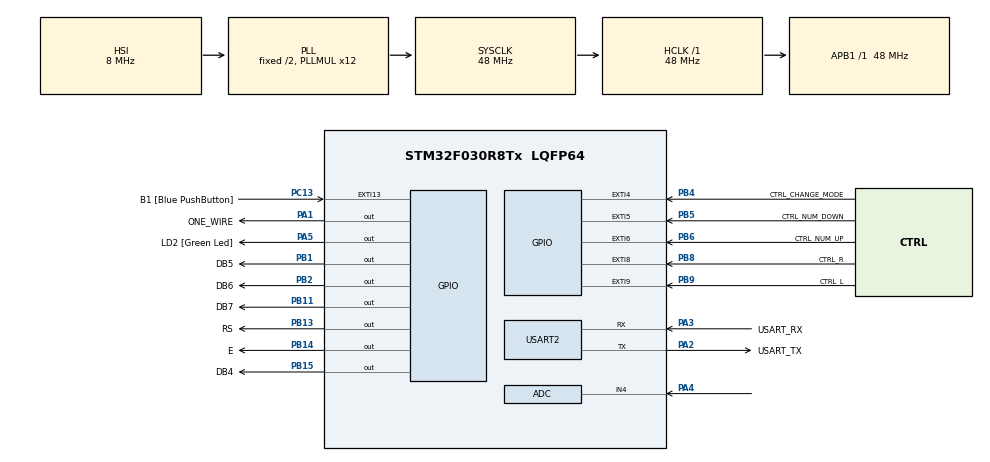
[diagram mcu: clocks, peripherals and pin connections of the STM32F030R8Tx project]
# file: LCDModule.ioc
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ADC.ContinuousConvMode=ENABLE
Mcu.Family=STM32F0
Mcu.Name=STM32F030R8Tx
Mcu.Package=LQFP64
NVIC.EXTI4_15_IRQn=true\:0\:0\:false\:false\:true\:true\:true\:true
NVIC.TIM6_IRQn=true\:0\:0\:false\:false\:true\:true\:true\:true
PA1.GPIO_Label=ONE_WIRE
PA1.Signal=GPIO_Output
PA13.GPIO_Label=TMS
PA13.Mode=Serial_Wire
PA13.Signal=SYS_SWDIO
PA14.GPIO_Label=TCK
PA14.Mode=Serial_Wire
PA14.Signal=SYS_SWCLK
PA2.GPIO_Label=USART_TX
PA2.GPIO_Mode=GPIO_MODE_AF_PP
PA2.GPIO_PuPd=GPIO_NOPULL
PA2.GPIO_Speed=GPIO_SPEED_FREQ_LOW
PA2.Mode=Asynchronous
PA2.Signal=USART2_TX
PA3.GPIO_Label=USART_RX
PA3.GPIO_Mode=GPIO_MODE_AF_PP
PA3.GPIO_PuPd=GPIO_NOPULL
PA3.GPIO_Speed=GPIO_SPEED_FREQ_LOW
PA3.Mode=Asynchronous
PA3.Signal=USART2_RX
PA4.Mode=IN4
PA4.Signal=ADC_IN4
PA5.GPIO_Label=LD2 [Green Led]
PA5.GPIO_Mode=GPIO_MODE_OUTPUT_PP
PA5.GPIO_PuPd=GPIO_NOPULL
PA5.GPIO_Speed=GPIO_SPEED_FREQ_LOW
PA5.Signal=GPIO_Output
PB1.GPIO_Label=DB5
PB1.Signal=GPIO_Output
PB11.GPIO_Label=DB7
PB11.Signal=GPIO_Output
PB13.GPIO_Label=RS
PB13.Signal=GPIO_Output
PB14.GPIO_Label=E
PB14.Signal=GPIO_Output
PB15.GPIO_Label=DB4
PB15.Signal=GPIO_Output
PB2.GPIO_Label=DB6
PB2.Signal=GPIO_Output
PB4.GPIO_Label=CTRL_CHANGE_MODE
PB4.GPIO_PuPd=GPIO_PULLDOWN
PB4.Signal=GPXTI4
PB5.GPIO_Label=CTRL_NUM_DOWN
PB5.GPIO_PuPd=GPIO_PULLDOWN
PB5.Signal=GPXTI5
PB6.GPIO_Label=CTRL_NUM_UP
PB6.GPIO_PuPd=GPIO_PULLDOWN
PB6.Signal=GPXTI6
PB8.GPIO_Label=CTRL_R
PB8.GPIO_PuPd=GPIO_PULLDOWN
PB8.Signal=GPXTI8
PB9.GPIO_Label=CTRL_L
PB9.GPIO_PuPd=GPIO_PULLDOWN
PB9.Signal=GPXTI9
PC13.GPIO_Label=B1 [Blue PushButton]
PC13.GPIO_ModeDefaultEXTI=GPIO_MODE_IT_FALLING
PC13.Signal=GPXTI13
PC14-OSC32_IN.Mode=LSE-External-Oscillator
PC14-OSC32_IN.Signal=RCC_OSC32_IN
PC15-OSC32_OUT.Mode=LSE-External-Oscillator
PC15-OSC32_OUT.Signal=RCC_OSC32_OUT
PF0-OSC_IN.Mode=HSE-External-Clock-Source
PF0-OSC_IN.Signal=RCC_OSC_IN
PF1-OSC_OUT.Signal=RCC_OSC_OUT
ProjectManager.HeapSize=0x200
ProjectManager.StackSize=0x400
ProjectManager.TargetToolchain=STM32CubeIDE
RCC.AHBFreq_Value=48000000
RCC.APB1Freq_Value=48000000
RCC.APB1TimFreq_Value=48000000
RCC.HCLKFreq_Value=48000000
RCC.PLLMUL=RCC_PLL_MUL12
RCC.SYSCLKFreq_VALUE=48000000
RCC.SYSCLKSource=RCC_SYSCLKSOURCE_PLLCLK
TIM14.Prescaler=47
TIM6.AutoReloadPreload=TIM_AUTORELOAD_PRELOAD_ENABLE
TIM6.Period=999
TIM6.Prescaler=47999
USART2.VirtualMode-Asynchronous=VM_ASYNC
VP_TIM14_VS_ClockSourceINT.Mode=Enable_Timer
VP_TIM6_VS_ClockSourceINT.Mode=Enable_Timer
board=NUCLEO-F030R8

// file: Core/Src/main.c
/* USER CODE BEGIN Header */
/**
  ******************************************************************************
  * @file           : main.c
  * @brief          : Main program body
  ******************************************************************************
  * @attention
  *
  * Copyright (c) 2023 STMicroelectronics.
  * All rights reserved.
  *
  * This software is licensed under terms that can be found in the LICENSE file
  * in the root directory of this software component.
  * If no LICENSE file comes with this software, it is provided AS-IS.
  *
  ******************************************************************************
  */
/* USER CODE END Header */
#include "main.h"
#include "lcd.h"
#include <string.h>
#include <stdio.h>
#include "temp.h"
#include "one_wire.h"
#include <inttypes.h>

ADC_HandleTypeDef hadc;

TIM_HandleTypeDef htim6;
TIM_HandleTypeDef htim14;

UART_HandleTypeDef huart2;

void SystemClock_Config(void);
static void MX_GPIO_Init(void);
static void MX_USART2_UART_Init(void);
static void MX_TIM6_Init(void);
static void MX_ADC_Init(void);
static void MX_TIM14_Init(void);
static void time2String(char* buffer);
static void updateTime();
/* USER CODE BEGIN PFP */
static void handleLcdUpdate(bool_t isCursorOn, TEMP_EXTENDED temp, uint32_t humidity);
static void handleTimeDigitChange(bool_t isUp);
static void initContext(CONTEXT* pContext);
/* USER CODE END PFP */

static CONTEXT context = {0};

int main(void)
{
  /* USER CODE BEGIN 1 */
  bool_t isCursorOn = FALSE;
  TEMP_EXTENDED temp = {0};
  /* USER CODE END 1 */

  /* MCU Configuration--------------------------------------------------------*/

  /* Reset of all peripherals, Initializes the Flash interface and the Systick. */
  HAL_Init();

  /* Configure the system clock */
  SystemClock_Config();

  /* Initialize all configured peripherals */
  MX_GPIO_Init();
  MX_USART2_UART_Init();
  MX_TIM6_Init();
  MX_ADC_Init();
  MX_TIM14_Init();
  /* USER CODE BEGIN 2 */
  HAL_TIM_Base_Start(&htim14); //Starte den Timer für Mikrosekunden-Delay (One-Wire)
  lcd_init(); //Initialisierung und Konfiguration des LCD's
  one_wire_init(&htim14); //Initialisierung der One-Wire-Verbindung

  //ADC für das Potentiometer initialisieren
  HAL_ADC_Start(&hadc);
  //Timer6 für die Sekundenzählung (Uhrzeit-Darstellung) starten
  HAL_TIM_Base_Start_IT(&htim6);

  //Initial, die Werte für die simulierte Luftfeuchtigkeit und der Temperatur auslesen
  HAL_ADC_PollForConversion(&hadc, 1000);
  uint32_t humidity = HAL_ADC_GetValue(&hadc);
  temp_GetDegressCelsiusExtended(&temp);

  //Initialisierung der Context-Struktur
  initContext(&context);

  //Initiale LCD-Ausgabe mit Cursor, für die Konfiguration der Zeit
  time2String(context.outputBuffer);
  lcd_send(0x01, FALSE);
  lcd_sendString(context.outputBuffer);
  lcd_setCursor(context.cursorPosition, 0);
  lcd_toggleCursor(TRUE);

  /* USER CODE END 2 */

  /* Infinite loop */
  /* USER CODE BEGIN WHILE */
  while (1)
    {
	  /*
	   * Überprüfe, ob aktueller Mode TIME_CONFIG ist, falls ja, aktiviere den Cursor, falls dieser noch nicht aktiviert ist
	   * ansonsten deaktivere den Cursor, falls er noch nicht deaktiviert wurde.
	   */
  	  if(context.currentMode == TIME_CONFIG) {
  		  if(!isCursorOn) {
  			  lcd_toggleCursor(TRUE);
  			  isCursorOn = TRUE;
  		  }
  	  } else {
  		  if(isCursorOn) {
  			  lcd_toggleCursor(FALSE);
  			  isCursorOn = FALSE;
  		  }
  	  }

  	  /*
  	   * Aktuallisiere die LCD-Darstellung, in Abhängigkeit davon,
  	   * ob das Flag lcdUpdate gesetzt ist oder nicht
  	   */
  	  if(context.flags.lcdUpdate) {

  		  //Aktuallisiere den erweiterten Temperaturwert
  		  temp_GetDegressCelsiusExtended(&temp);

  		  //Bestimme die Luftfeuchtigkeit (prozentual)
		  HAL_ADC_PollForConversion(&hadc, 1000);
		  humidity = (HAL_ADC_GetValue(&hadc) * 100) / MAX_HUMIDTY_VALUE;

		  //Aktuallisiere die LCD-Darstellung in Abhängigkeit des aktuellen Modus
		  handleLcdUpdate(isCursorOn, temp, humidity);
  	  }

  	  //Verhindern des Prellens der Buttons durch buttonPressed flag und einem 100ms delay
  	  if(context.flags.buttonPressed) {
  		  HAL_Delay(50);
  		  context.flags.buttonPressed = FALSE;
  	  }

  	  HAL_Delay(1);
    }
  }
  /* USER CODE END WHILE */

void SystemClock_Config(void)
{
  RCC_OscInitTypeDef RCC_OscInitStruct = {0};
  RCC_ClkInitTypeDef RCC_ClkInitStruct = {0};

  /** Initializes the RCC Oscillators according to the specified parameters
  * in the RCC_OscInitTypeDef structure.
  */
  RCC_OscInitStruct.OscillatorType = RCC_OSCILLATORTYPE_HSI|RCC_OSCILLATORTYPE_HSI14;
  RCC_OscInitStruct.HSIState = RCC_HSI_ON;
  RCC_OscInitStruct.HSI14State = RCC_HSI14_ON;
  RCC_OscInitStruct.HSICalibrationValue = RCC_HSICALIBRATION_DEFAULT;
  RCC_OscInitStruct.HSI14CalibrationValue = 16;
  RCC_OscInitStruct.PLL.PLLState = RCC_PLL_ON;
  RCC_OscInitStruct.PLL.PLLSource = RCC_PLLSOURCE_HSI;
  RCC_OscInitStruct.PLL.PLLMUL = RCC_PLL_MUL12;
  RCC_OscInitStruct.PLL.PREDIV = RCC_PREDIV_DIV1;
  if (HAL_RCC_OscConfig(&RCC_OscInitStruct) != HAL_OK)
  {
    Error_Handler();
  }

  /** Initializes the CPU, AHB and APB buses clocks
  */
  RCC_ClkInitStruct.ClockType = RCC_CLOCKTYPE_HCLK|RCC_CLOCKTYPE_SYSCLK
                              |RCC_CLOCKTYPE_PCLK1;
  RCC_ClkInitStruct.SYSCLKSource = RCC_SYSCLKSOURCE_PLLCLK;
  RCC_ClkInitStruct.AHBCLKDivider = RCC_SYSCLK_DIV1;
  RCC_ClkInitStruct.APB1CLKDivider = RCC_HCLK_DIV1;

  if (HAL_RCC_ClockConfig(&RCC_ClkInitStruct, FLASH_LATENCY_1) != HAL_OK)
  {
    Error_Handler();
  }
}

static void MX_ADC_Init(void)
{

  ADC_ChannelConfTypeDef sConfig = {0};

  /** Configure the global features of the ADC (Clock, Resolution, Data Alignment and number of conversion)
  */
  hadc.Instance = ADC1;
  hadc.Init.ClockPrescaler = ADC_CLOCK_ASYNC_DIV1;
  hadc.Init.Resolution = ADC_RESOLUTION_12B;
  hadc.Init.DataAlign = ADC_DATAALIGN_RIGHT;
  hadc.Init.ScanConvMode = ADC_SCAN_DIRECTION_FORWARD;
  hadc.Init.EOCSelection = ADC_EOC_SINGLE_CONV;
  hadc.Init.LowPowerAutoWait = DISABLE;
  hadc.Init.LowPowerAutoPowerOff = DISABLE;
  hadc.Init.ContinuousConvMode = ENABLE;
  hadc.Init.DiscontinuousConvMode = DISABLE;
  hadc.Init.ExternalTrigConv = ADC_SOFTWARE_START;
  hadc.Init.ExternalTrigConvEdge = ADC_EXTERNALTRIGCONVEDGE_NONE;
  hadc.Init.DMAContinuousRequests = DISABLE;
  hadc.Init.Overrun = ADC_OVR_DATA_PRESERVED;
  if (HAL_ADC_Init(&hadc) != HAL_OK)
  {
    Error_Handler();
  }

  /** Configure for the selected ADC regular channel to be converted.
  */
  sConfig.Channel = ADC_CHANNEL_4;
  sConfig.Rank = ADC_RANK_CHANNEL_NUMBER;
  sConfig.SamplingTime = ADC_SAMPLETIME_1CYCLE_5;
  if (HAL_ADC_ConfigChannel(&hadc, &sConfig) != HAL_OK)
  {
    Error_Handler();
  }

}

static void MX_TIM6_Init(void)
{

  htim6.Instance = TIM6;
  htim6.Init.Prescaler = 47999;
  htim6.Init.CounterMode = TIM_COUNTERMODE_UP;
  htim6.Init.Period = 999;
  htim6.Init.AutoReloadPreload = TIM_AUTORELOAD_PRELOAD_ENABLE;
  if (HAL_TIM_Base_Init(&htim6) != HAL_OK)
  {
    Error_Handler();
  }

}

static void MX_TIM14_Init(void)
{

  htim14.Instance = TIM14;
  htim14.Init.Prescaler = 47;
  htim14.Init.CounterMode = TIM_COUNTERMODE_UP;
  htim14.Init.Period = 65535;
  htim14.Init.ClockDivision = TIM_CLOCKDIVISION_DIV1;
  htim14.Init.AutoReloadPreload = TIM_AUTORELOAD_PRELOAD_DISABLE;
  if (HAL_TIM_Base_Init(&htim14) != HAL_OK)
  {
    Error_Handler();
  }

}

static void MX_USART2_UART_Init(void)
{

  huart2.Instance = USART2;
  huart2.Init.BaudRate = 38400;
  huart2.Init.WordLength = UART_WORDLENGTH_8B;
  huart2.Init.StopBits = UART_STOPBITS_1;
  huart2.Init.Parity = UART_PARITY_NONE;
  huart2.Init.Mode = UART_MODE_TX_RX;
  huart2.Init.HwFlowCtl = UART_HWCONTROL_NONE;
  huart2.Init.OverSampling = UART_OVERSAMPLING_16;
  huart2.Init.OneBitSampling = UART_ONE_BIT_SAMPLE_DISABLE;
  huart2.AdvancedInit.AdvFeatureInit = UART_ADVFEATURE_NO_INIT;
  if (HAL_UART_Init(&huart2) != HAL_OK)
  {
    Error_Handler();
  }

}

static void MX_GPIO_Init(void)
{
  GPIO_InitTypeDef GPIO_InitStruct = {0};

  /* GPIO Ports Clock Enable */
  __HAL_RCC_GPIOC_CLK_ENABLE();
  __HAL_RCC_GPIOF_CLK_ENABLE();
  __HAL_RCC_GPIOA_CLK_ENABLE();
  __HAL_RCC_GPIOB_CLK_ENABLE();

  /*Configure GPIO pin Output Level */
  HAL_GPIO_WritePin(GPIOA, ONE_WIRE_Pin|LD2_Pin, GPIO_PIN_RESET);

  /*Configure GPIO pin Output Level */
  HAL_GPIO_WritePin(GPIOB, DB5_Pin|DB6_Pin|DB7_Pin|RS_Pin
                          |E_Pin|DB4_Pin, GPIO_PIN_RESET);

  /*Configure GPIO pin : B1_Pin */
  GPIO_InitStruct.Pin = B1_Pin;
  GPIO_InitStruct.Mode = GPIO_MODE_IT_FALLING;
  GPIO_InitStruct.Pull = GPIO_NOPULL;
  HAL_GPIO_Init(B1_GPIO_Port, &GPIO_InitStruct);

  /*Configure GPIO pins : ONE_WIRE_Pin LD2_Pin */
  GPIO_InitStruct.Pin = ONE_WIRE_Pin|LD2_Pin;
  GPIO_InitStruct.Mode = GPIO_MODE_OUTPUT_PP;
  GPIO_InitStruct.Pull = GPIO_NOPULL;
  GPIO_InitStruct.Speed = GPIO_SPEED_FREQ_LOW;
  HAL_GPIO_Init(GPIOA, &GPIO_InitStruct);

  /*Configure GPIO pins : DB5_Pin DB6_Pin DB7_Pin RS_Pin
                           E_Pin DB4_Pin */
  GPIO_InitStruct.Pin = DB5_Pin|DB6_Pin|DB7_Pin|RS_Pin
                          |E_Pin|DB4_Pin;
  GPIO_InitStruct.Mode = GPIO_MODE_OUTPUT_PP;
  GPIO_InitStruct.Pull = GPIO_NOPULL;
  GPIO_InitStruct.Speed = GPIO_SPEED_FREQ_LOW;
  HAL_GPIO_Init(GPIOB, &GPIO_InitStruct);

  /*Configure GPIO pins : CTRL_CHANGE_MODE_Pin CTRL_NUM_DOWN_Pin CTRL_NUM_UP_Pin CTRL_R_Pin
                           CTRL_L_Pin */
  GPIO_InitStruct.Pin = CTRL_CHANGE_MODE_Pin|CTRL_NUM_DOWN_Pin|CTRL_NUM_UP_Pin|CTRL_R_Pin
                          |CTRL_L_Pin;
  GPIO_InitStruct.Mode = GPIO_MODE_IT_RISING;
  GPIO_InitStruct.Pull = GPIO_PULLDOWN;
  HAL_GPIO_Init(GPIOB, &GPIO_InitStruct);

  /* EXTI interrupt init*/
  HAL_NVIC_SetPriority(EXTI4_15_IRQn, 0, 0);
  HAL_NVIC_EnableIRQ(EXTI4_15_IRQn);

}

/* USER CODE BEGIN 4 */

//Initialisierungsfunktion für die Context-Daten
void initContext(CONTEXT* pContext) {
	pContext->currentMode = TIME_CONFIG;
	pContext->flags.lcdUpdate = FALSE;
	pContext->flags.buttonPressed = FALSE;
	pContext->cursorPosition = 0;
	pContext->timeConfig = HOUR_0;
	pContext->time.packed_time = 0;
	memset(pContext->outputBuffer, 0, OUTPUT_BUFFER_SIZE);
}

/*
 * Interrupt-Handler-Funktion für die Steuerung-Buttons
 */
void HAL_GPIO_EXTI_Callback(uint16_t GPIO_Pin)
{
    //Überprüfe buttonPressed Flag, um Prellen zu verhindern
    if(context.flags.buttonPressed) return;

    switch (GPIO_Pin)
    {
    case CTRL_L_Pin: //Kontroll-Links (Wechsel der Ziffer-Position und der Modi)
        if(context.currentMode == TIME_CONFIG) {
            if(context.timeConfig == HOUR_0){
                //Setze Position der Zeiteinstellung auf Zehnerstelle der Sekunden
                context.timeConfig = SEC_1;
                context.cursorPosition = 7;
            } else {
                context.timeConfig--;
                if(context.cursorPosition == 6
                    || context.cursorPosition == 3) {
                    context.cursorPosition -= 2;
                } else {
                    context.cursorPosition--;
                }
            }
        } else {
        	//Falls alternierenden Anzeigemodus aktiviert ist, deaktivere ihn
            context.flags.isInPeroidMode = FALSE;

            //Manueller Wechsel der Modi
            if(context.currentMode == TIME) {
                context.currentMode = TEMP_HUMIDITY;
                context.flags.lcdUpdate = TRUE;
            } else {
                context.currentMode--;
                context.flags.lcdUpdate = TRUE;
            }
        }
        break;
    case CTRL_R_Pin: //Kontroll-Rechts (Wechsel der Ziffer-Position und der Modi)
        if(context.currentMode == TIME_CONFIG) {
            if(context.timeConfig == SEC_1){
                //Setze Position der Zeiteinstellung auf Zehnerstelle der Stunden
                context.timeConfig = HOUR_0;
                context.cursorPosition = 0;
            } else {
                context.timeConfig++;
                if(context.cursorPosition == 1
                    || context.cursorPosition == 4) {
                    context.cursorPosition += 2;
                } else {
                    context.cursorPosition++;
                }
            }
        } else {
        	//Falls alternierenden Anzeigemodus aktiviert ist, deaktivere ihn
        	 context.flags.isInPeroidMode = FALSE;

        	//Manueller Wechsel der Modi
            if(context.currentMode == TEMP_HUMIDITY) {
                context.currentMode = TIME;
                context.flags.lcdUpdate = TRUE;
            } else {
               context.currentMode++;
               context.flags.lcdUpdate = TRUE;
            }
        }
        break;
    case CTRL_NUM_UP_Pin: //Konroll-Up, zum Inkrementieren der aktuellen Zeitziffer
        if(context.currentMode == TIME_CONFIG) {
            handleTimeDigitChange(TRUE);
        } else {
        	//Flag zur Aktivierung des alternierenden Anzeigemodus
            if(context.flags.isInPeroidMode) {
                context.flags.isInPeroidMode = FALSE;
            } else {
                context.flags.isInPeroidMode = TRUE;
            }
        }
        break;
    case CTRL_NUM_DOWN_Pin: //Konroll-Down, zum Dekrementieren der aktuellen Zeitziffer
        if(context.currentMode == TIME_CONFIG) {
            handleTimeDigitChange(FALSE);
        }
        break;
    case CTRL_CHANGE_MODE_Pin: //Wechsel zwischen dem Modus zur Zeiteinstellung und dem Modus zur Zeitdarstellung
        if(context.currentMode == TIME_CONFIG) {
            context.currentMode = TIME;
            context.cursorPosition = 0;
        } else {
            context.currentMode = TIME_CONFIG;
        }
        break;
    }

    context.flags.lcdUpdate = TRUE; //Flag, zum aktuallisieren des LCD's aus der Main-Funktion
    context.flags.buttonPressed = TRUE;
}

/*
 * Interrupt-Handler-Funktion für den Timer, zur Sekundenzählung
 * und Zeitaktuallisierung sowie zur Interval-Prüfung für den automatischen Modi-Wechsel
 */
void HAL_TIM_PeriodElapsedCallback(TIM_HandleTypeDef *htim)
{
	if(context.currentMode != TIME_CONFIG) {
		updateTime();
		context.flags.lcdUpdate = TRUE;

		//Falls alternierenden Anzeigemodus aktiviert, prüfe ob CHANGE_MODE_PEROID erreicht wurde
		if(context.flags.isInPeroidMode &&
				context.time.seconds % CHANGE_MODE_PEROID == 0) {
			if(context.currentMode == TEMP_HUMIDITY) {
				context.currentMode = TIME;
			} else {
			    context.currentMode = TEMP_HUMIDITY;
			}
		}
	}
}

/*
 * Funktion, um die Zeit korrekt zu aktualliseren,
 * nachdem die Sekundeninkrementierung stattgefunden hat
 */
static void updateTime() {
	context.time.seconds++;
	if(context.time.seconds >= 60) {
		context.time.seconds = 0;
		context.time.minutes++;
	}
	if(context.time.minutes >= 60) {
		context.time.hours++;
		context.time.minutes = 0;
	}
	if(context.time.hours >= 24) {
		context.time.hours = 0;
	}
}

/*
 * Funktion, zur textuellen Repräsentation der aktuellen Zeit
 */
static void time2String(char* buffer) {
	sprintf(buffer, "%02d:%02d:%02d", context.time.hours, context.time.minutes, context.time.seconds);
}

/*
 * Funktion, die die einstellbare Zeit für
 * die Inkre- und Dekrementierung richtig errechnet und speichert
 *
*/
static void handleTimeDigitChange(bool_t isUp) {
	switch (context.timeConfig)
	{
	case HOUR_0:
		if(isUp) {
			if(context.time.hours >= 14) { //Überlauf bei den Stunden?
				context.time.hours = context.time.hours + 10 - 24;
			} else {
				context.time.hours += 10;
			}
		} else {
			if(context.time.hours <= 9) {
				context.time.hours = context.time.hours + 24 - 10;
			} else {
				context.time.hours -= 10;
			}
		}
		break;
	case HOUR_1:
		if(isUp) {
			if(context.time.hours >= 23) { //Überlauf bei den Stunden?
				context.time.hours = 0;
			} else {
				context.time.hours++;
			}
		} else {
			if(context.time.hours <= 0) {
				context.time.hours = 23;
			} else {
				context.time.hours--;
			}
		}
		break;
	case MIN_0:
		if(isUp) {
			if(context.time.minutes >= 50) { //Überlauf bei der Zehnerstelle der Minuten?
				context.time.minutes = context.time.minutes + 10 - 60;
			} else {
				context.time.minutes += 10;
					}
		} else {
			if(context.time.minutes <= 9) {
				context.time.minutes = context.time.minutes + 60 - 10;
			} else {
				context.time.minutes -= 10;
			}
		}
		break;
	case MIN_1:
		if(isUp) {
			if(context.time.minutes >= 59) { //Überlauf bei der Einerstelle der Minuten?
				context.time.minutes = 0;
			} else {
				context.time.minutes++;
			}
		} else {
			if(context.time.minutes <= 0) {
				context.time.minutes = 59;
			} else {
				context.time.minutes--;
			}
		}
		break;
	case SEC_0:
		if(isUp) {
			if(context.time.seconds >= 50) { //Überlauf bei der Zehnerstelle der Sekunden?
				context.time.seconds = context.time.seconds + 10 - 60;
			} else {
				context.time.seconds += 10;
			}
		} else {
			if(context.time.seconds <= 9) {
				context.time.seconds = context.time.seconds + 60 - 10;
			} else {
				context.time.seconds -= 10;
			}
		}

		break;
	case SEC_1:
		if(isUp) {
			if(context.time.seconds >= 59) {
				context.time.seconds = 0;
			} else {
				context.time.seconds++;
			}
		} else {
			if(context.time.seconds <= 0) {
				context.time.seconds = 59;
			} else {
				context.time.seconds--;
			}
		}
		break;
	}
}

static void handleLcdUpdate(bool_t isCursorOn, TEMP_EXTENDED temp, uint32_t humidity) {
	if(context.currentMode == TIME_CONFIG) {
		time2String(context.outputBuffer);
		lcd_send(0x01, FALSE);
		lcd_sendString(context.outputBuffer);
		if(isCursorOn) {
			lcd_setCursor(context.cursorPosition, 0);
		}
	} else if(context.currentMode == TIME) {
		time2String(context.outputBuffer);
		lcd_send(0x01, FALSE);
		lcd_sendString(context.outputBuffer);
	} else if(context.currentMode == TIME_TEMP) {
		char timeStr[9] = {0};
		time2String(timeStr);
		sprintf(context.outputBuffer, "%s%s%d,%d%cC", timeStr, LCD_OUTPUT_PADDING, temp.preDec, temp.decPlace, DEGREE_SYMBOL);
		lcd_send(0x01, FALSE);
		lcd_sendString(context.outputBuffer);
	} else if(context.currentMode == TEMP_HUMIDITY) {
		sprintf(context.outputBuffer, "%d,%d%cC%s %" PRIu32 "%c", temp.preDec, temp.decPlace, DEGREE_SYMBOL, LCD_OUTPUT_PADDING, humidity, '%');
		lcd_send(0x01, FALSE);
		lcd_sendString(context.outputBuffer);
	}

	context.flags.lcdUpdate = FALSE;
}

/* USER CODE END 4 */

void Error_Handler(void)
{
  __disable_irq();
  while (1)
  {
  }
}
